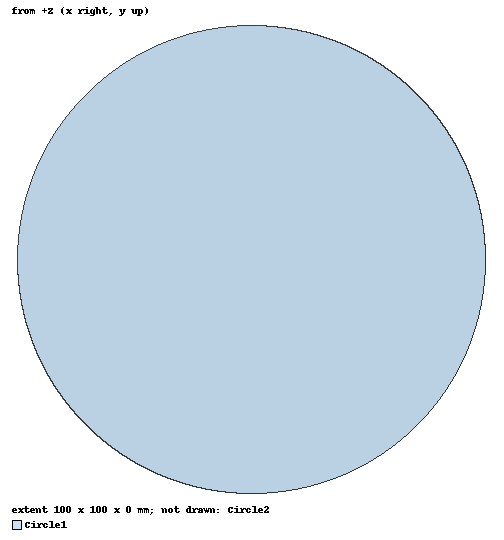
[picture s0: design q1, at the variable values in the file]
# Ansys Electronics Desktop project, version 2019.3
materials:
  vacuum: permittivity=1

design q1 (Maxwell 2D, Magnetostatic, XY geometry, model units mm)
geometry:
  Circle1 [vacuum] = circle(normal=Z, centre=(0mm, 0mm, 0mm), radius=50mm)
  Circle2 [vacuum] = circle(normal=Z, centre=(0mm, 0mm, 0mm), radius=80mm)
  Circle3 = circle(normal=Z, centre=(0mm, 0mm, 0mm), radius=55mm)
  Circle2.subtract(Circle3)
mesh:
  initial mesh: MeshMethod=AnsoftTAU
